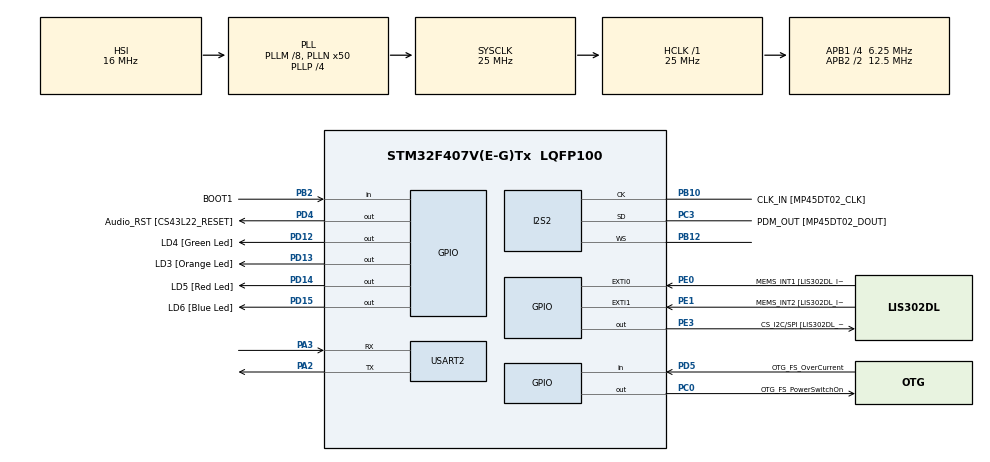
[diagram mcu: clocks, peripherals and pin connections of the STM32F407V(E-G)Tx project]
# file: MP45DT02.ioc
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I2S2.AudioFreq=I2S_AUDIOFREQ_192K
I2S2.ErrorAudioFreq=0.8 %
I2S2.Mode=I2S_MODE_MASTER_RX
I2S2.RealAudioFreq=193.548 KHz
Mcu.Family=STM32F4
Mcu.Name=STM32F407V(E-G)Tx
Mcu.Package=LQFP100
NVIC.PriorityGroup=NVIC_PRIORITYGROUP_0
NVIC.SPI2_IRQn=true\:0\:0\:false\:false\:true
PA10.GPIO_Label=OTG_FS_ID
PA10.GPIO_Mode=GPIO_MODE_AF_PP
PA10.GPIO_PuPd=GPIO_NOPULL
PA10.GPIO_Speed=GPIO_SPEED_FREQ_LOW
PA10.Signal=USB_OTG_FS_ID
PA11.GPIO_Label=OTG_FS_DM
PA11.GPIO_Mode=GPIO_MODE_AF_PP
PA11.GPIO_PuPd=GPIO_NOPULL
PA11.GPIO_Speed=GPIO_SPEED_FREQ_LOW
PA11.Signal=USB_OTG_FS_DM
PA12.GPIO_Label=OTG_FS_DP
PA12.GPIO_Mode=GPIO_MODE_AF_PP
PA12.GPIO_PuPd=GPIO_NOPULL
PA12.GPIO_Speed=GPIO_SPEED_FREQ_LOW
PA12.Signal=USB_OTG_FS_DP
PA13.GPIO_Label=SWDIO
PA13.Signal=SYS_JTMS-SWDIO
PA14.GPIO_Label=SWCLK
PA14.Signal=SYS_JTCK-SWCLK
PA2.Mode=Asynchronous
PA2.Signal=USART2_TX
PA3.Mode=Asynchronous
PA3.Signal=USART2_RX
PA4.GPIO_Label=I2S3_WS [CS43L22_LRCK]
PA4.GPIO_Mode=GPIO_MODE_AF_PP
PA4.GPIO_PuPd=GPIO_NOPULL
PA4.GPIO_Speed=GPIO_SPEED_FREQ_LOW
PA4.Signal=I2S3_WS
PA5.GPIO_Label=SPI1_SCK [LIS302DL_SCL/SPC]
PA5.GPIO_Mode=GPIO_MODE_AF_PP
PA5.GPIO_PuPd=GPIO_NOPULL
PA5.GPIO_Speed=GPIO_SPEED_FREQ_LOW
PA5.Signal=SPI1_SCK
PA6.GPIO_Label=SPI1_MISO [LIS302DL_SDO]
PA6.GPIO_Mode=GPIO_MODE_AF_PP
PA6.GPIO_PuPd=GPIO_NOPULL
PA6.GPIO_Speed=GPIO_SPEED_FREQ_LOW
PA6.Signal=SPI1_MISO
PA7.GPIO_Label=SPI1_MOSI [LIS302DL_SDA/SDI/SDO]
PA7.GPIO_Mode=GPIO_MODE_AF_PP
PA7.GPIO_PuPd=GPIO_NOPULL
PA7.GPIO_Speed=GPIO_SPEED_FREQ_LOW
PA7.Signal=SPI1_MOSI
PA9.GPIO_Label=VBUS_FS
PA9.GPIO_Mode=GPIO_MODE_INPUT
PA9.GPIO_PuPd=GPIO_NOPULL
PA9.Signal=USB_OTG_FS_VBUS
PB10.GPIO_Label=CLK_IN [MP45DT02_CLK]
PB10.GPIO_Mode=GPIO_MODE_AF_PP
PB10.GPIO_PuPd=GPIO_NOPULL
PB10.GPIO_Speed=GPIO_SPEED_FREQ_LOW
PB10.Mode=Half_Duplex_Master
PB10.Signal=I2S2_CK
PB12.Mode=Half_Duplex_Master
PB12.Signal=I2S2_WS
PB2.GPIO_Label=BOOT1
PB2.GPIO_Mode=GPIO_MODE_INPUT
PB2.GPIO_PuPd=GPIO_NOPULL
PB2.Signal=GPIO_Input
PB3.GPIO_Label=SWO
PB3.Signal=SYS_JTDO-SWO
PB6.GPIO_Label=Audio_SCL [CS43L22_SCL]
PB6.GPIO_Mode=GPIO_MODE_AF_OD
PB6.GPIO_PuPd=GPIO_NOPULL
PB6.GPIO_Speed=GPIO_SPEED_FREQ_LOW
PB6.Signal=I2C1_SCL
PB9.GPIO_Label=Audio_SDA [CS43L22_SDA]
PB9.GPIO_Mode=GPIO_MODE_AF_OD
PB9.GPIO_PuPd=GPIO_NOPULL
PB9.GPIO_Speed=GPIO_SPEED_FREQ_LOW
PB9.Signal=I2C1_SDA
PC0.GPIO_Label=OTG_FS_PowerSwitchOn
PC0.GPIO_PuPd=GPIO_NOPULL
PC0.GPIO_Speed=GPIO_SPEED_FREQ_LOW
PC0.PinState=GPIO_PIN_SET
PC0.Signal=GPIO_Output
PC10.GPIO_Label=I2S3_SCK [CS43L22_SCLK]
PC10.GPIO_Mode=GPIO_MODE_AF_PP
PC10.GPIO_PuPd=GPIO_NOPULL
PC10.GPIO_Speed=GPIO_SPEED_FREQ_LOW
PC10.Signal=I2S3_CK
PC12.GPIO_Label=I2S3_SD [CS43L22_SDIN]
PC12.GPIO_Mode=GPIO_MODE_AF_PP
PC12.GPIO_PuPd=GPIO_NOPULL
PC12.GPIO_Speed=GPIO_SPEED_FREQ_LOW
PC12.Signal=I2S3_SD
PC14-OSC32_IN.GPIO_Label=PC14-OSC32_IN
PC14-OSC32_IN.Signal=RCC_OSC32_IN
PC15-OSC32_OUT.GPIO_Label=PC15-OSC32_OUT
PC15-OSC32_OUT.Signal=RCC_OSC32_OUT
PC3.GPIO_Label=PDM_OUT [MP45DT02_DOUT]
PC3.GPIO_Mode=GPIO_MODE_AF_PP
PC3.GPIO_PuPd=GPIO_NOPULL
PC3.GPIO_Speed=GPIO_SPEED_FREQ_LOW
PC3.Mode=Half_Duplex_Master
PC3.Signal=I2S2_SD
PC7.GPIO_Label=I2S3_MCK [CS43L22_MCLK]
PC7.GPIO_Mode=GPIO_MODE_AF_PP
PC7.GPIO_PuPd=GPIO_NOPULL
PC7.GPIO_Speed=GPIO_SPEED_FREQ_LOW
PC7.Signal=I2S3_MCK
PD12.GPIO_Label=LD4 [Green Led]
PD12.GPIO_PuPd=GPIO_NOPULL
PD12.GPIO_Speed=GPIO_SPEED_FREQ_LOW
PD12.Signal=GPIO_Output
PD13.GPIO_Label=LD3 [Orange Led]
PD13.GPIO_PuPd=GPIO_NOPULL
PD13.GPIO_Speed=GPIO_SPEED_FREQ_LOW
PD13.Signal=GPIO_Output
PD14.GPIO_Label=LD5 [Red Led]
PD14.GPIO_PuPd=GPIO_NOPULL
PD14.GPIO_Speed=GPIO_SPEED_FREQ_LOW
PD14.Signal=GPIO_Output
PD15.GPIO_Label=LD6 [Blue Led]
PD15.GPIO_PuPd=GPIO_NOPULL
PD15.GPIO_Speed=GPIO_SPEED_FREQ_LOW
PD15.Signal=GPIO_Output
PD4.GPIO_Label=Audio_RST [CS43L22_RESET]
PD4.GPIO_PuPd=GPIO_NOPULL
PD4.GPIO_Speed=GPIO_SPEED_FREQ_LOW
PD4.Signal=GPIO_Output
PD5.GPIO_Label=OTG_FS_OverCurrent
PD5.GPIO_Mode=GPIO_MODE_INPUT
PD5.GPIO_PuPd=GPIO_NOPULL
PD5.Signal=GPIO_Input
PE0.GPIO_Label=MEMS_INT1 [LIS302DL_INT1]
PE0.Signal=GPXTI0
PE1.GPIO_Label=MEMS_INT2 [LIS302DL_INT2]
PE1.GPIO_ModeDefaultEXTI=GPIO_MODE_EVT_RISING
PE1.GPIO_PuPd=GPIO_NOPULL
PE1.Signal=GPXTI1
PE3.GPIO_Label=CS_I2C/SPI [LIS302DL_CS_I2C/SPI]
PE3.GPIO_PuPd=GPIO_NOPULL
PE3.GPIO_Speed=GPIO_SPEED_FREQ_LOW
PE3.Signal=GPIO_Output
PH0-OSC_IN.GPIO_Label=PH0-OSC_IN
PH0-OSC_IN.Signal=RCC_OSC_IN
PH1-OSC_OUT.GPIO_Label=PH1-OSC_OUT
PH1-OSC_OUT.Signal=RCC_OSC_OUT
ProjectManager.HeapSize=0x200
ProjectManager.StackSize=0x400
ProjectManager.TargetToolchain=SW4STM32
RCC.48MHZClocksFreq_Value=14285714.285714285
RCC.AHBFreq_Value=25000000
RCC.APB1CLKDivider=RCC_HCLK_DIV4
RCC.APB1Freq_Value=6250000
RCC.APB1TimFreq_Value=12500000
RCC.APB2CLKDivider=RCC_HCLK_DIV2
RCC.APB2Freq_Value=12500000
RCC.APB2TimFreq_Value=25000000
RCC.CortexFreq_Value=25000000
RCC.HCLKFreq_Value=25000000
RCC.HSE_VALUE=8000000
RCC.HSI_VALUE=16000000
RCC.LSE_VALUE=32768
RCC.PLLM=8
RCC.PLLN=50
RCC.PLLP=RCC_PLLP_DIV4
RCC.PLLQ=7
RCC.SYSCLKFreq_VALUE=25000000
RCC.SYSCLKSource=RCC_SYSCLKSOURCE_PLLCLK
RCC.VCOOutputFreq_Value=100000000
board=STM32F407G-DISC1

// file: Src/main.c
/**
 ******************************************************************************
 * File Name          : main.c
 * Description        : Main program body
 ******************************************************************************
 *
 * COPYRIGHT(c) 2016 STMicroelectronics
 *
 * Redistribution and use in source and binary forms, with or without modification,
 * are permitted provided that the following conditions are met:
 *   1. Redistributions of source code must retain the above copyright notice,
 *      this list of conditions and the following disclaimer.
 *   2. Redistributions in binary form must reproduce the above copyright notice,
 *      this list of conditions and the following disclaimer in the documentation
 *      and/or other materials provided with the distribution.
 *   3. Neither the name of STMicroelectronics nor the names of its contributors
 *      may be used to endorse or promote products derived from this software
 *      without specific prior written permission.
 *
 * THIS SOFTWARE IS PROVIDED BY THE COPYRIGHT HOLDERS AND CONTRIBUTORS "AS IS"
 * AND ANY EXPRESS OR IMPLIED WARRANTIES, INCLUDING, BUT NOT LIMITED TO, THE
 * IMPLIED WARRANTIES OF MERCHANTABILITY AND FITNESS FOR A PARTICULAR PURPOSE ARE
 * DISCLAIMED. IN NO EVENT SHALL THE COPYRIGHT HOLDER OR CONTRIBUTORS BE LIABLE
 * FOR ANY DIRECT, INDIRECT, INCIDENTAL, SPECIAL, EXEMPLARY, OR CONSEQUENTIAL
 * DAMAGES (INCLUDING, BUT NOT LIMITED TO, PROCUREMENT OF SUBSTITUTE GOODS OR
 * SERVICES; LOSS OF USE, DATA, OR PROFITS; OR BUSINESS INTERRUPTION) HOWEVER
 * CAUSED AND ON ANY THEORY OF LIABILITY, WHETHER IN CONTRACT, STRICT LIABILITY,
 * OR TORT (INCLUDING NEGLIGENCE OR OTHERWISE) ARISING IN ANY WAY OUT OF THE USE
 * OF THIS SOFTWARE, EVEN IF ADVISED OF THE POSSIBILITY OF SUCH DAMAGE.
 *
 ******************************************************************************
 */
#include "main.h"
#include "stm32f4xx_hal.h"

/* USER CODE BEGIN Includes */
#include <string.h>
#include <math.h>
#define UART_TIMEOUT 20
#define I2S_TIMEOUT 1000
#define PDM_BUFFER_SIZE 20
#define PCM_BUFFER_SIZE 2500
#define LEAKY_KEEP_RATE 0.95
#define PDM_STREAM_BLOCK_SIZE_BIT 8
/* USER CODE END Includes */

I2S_HandleTypeDef hi2s2;

UART_HandleTypeDef huart2;

/* USER CODE BEGIN PV */
/* Private variables ---------------------------------------------------------*/

/* USER CODE END PV */

void SystemClock_Config(void);
void Error_Handler(void);
static void MX_GPIO_Init(void);
static void MX_I2S2_Init(void);
static void MX_USART2_UART_Init(void);

/* USER CODE BEGIN PFP */

/* Private function prototypes -----------------------------------------------*/
uint16_t read_pdm();
void send_data_via_uart(char *data, uint16_t size);
int calculate_volume(uint16_t data);
float abs_float(float in);

/* USER CODE END PFP */

/* USER CODE BEGIN 0 */

char uart_buffer[100];

/* USER CODE END 0 */

int main(void) {

	/* USER CODE BEGIN 1 */
	uint16_t pdm_buffer[PDM_BUFFER_SIZE];
	uint16_t pdm_value = 0;
	int8_t pcm_value = 0;
	uint16_t pcm_count = 0;

	float leaky_pcm_buffer = 0.0; // For PDM moving average
	float leaky_amp_buffer = 0.0; // For |PCM| moving average

	double pcm_square = 0;
	float max_amp = 0;

	uint8_t i;
	/* USER CODE END 1 */

	/* MCU Configuration----------------------------------------------------------*/

	/* Reset of all peripherals, Initializes the Flash interface and the Systick. */
	HAL_Init();

	/* Configure the system clock */
	SystemClock_Config();

	/* Initialize all configured peripherals */
	MX_GPIO_Init();
	MX_I2S2_Init();
	MX_USART2_UART_Init();

	/* Infinite loop */
	while (1) {

		/* USER CODE BEGIN 3 */
//		uint16_t pdm_stream = read_pdm();
//		sprintf(uart_buffer, "PDM: %d\n", pdm_stream);
//		send_data_via_uart(uart_buffer);
//		int volume = calculate_volume(pdm_stream);
//		sprintf(uart_buffer, "Volume: %d\n\r", volume);
//		send_data_via_uart(uart_buffer);
		HAL_I2S_Receive(&hi2s2, pdm_buffer, PDM_BUFFER_SIZE, I2S_TIMEOUT);
		for (i = 0; i < PDM_BUFFER_SIZE; i++) {
			pcm_value = -PDM_STREAM_BLOCK_SIZE_BIT / 2;
			pdm_value = pdm_buffer[i];
			// calculate PCM value
			while (pdm_value != 0) {
				pcm_value++;
				pdm_value ^= pdm_value & -pdm_value;
			}
			leaky_pcm_buffer += pcm_value;
			leaky_pcm_buffer *= LEAKY_KEEP_RATE;
			leaky_amp_buffer += abs_float(leaky_pcm_buffer);
			leaky_amp_buffer *= LEAKY_KEEP_RATE;
		}
		pcm_count++;
		if (max_amp < leaky_amp_buffer)
			max_amp = leaky_amp_buffer;
		pcm_square += (leaky_amp_buffer / 2500) * leaky_amp_buffer;
		if (pcm_count == 2500) {
			sprintf(uart_buffer, "Loudness: %d\n\r", (int) max_amp);
			send_data_via_uart(uart_buffer, strlen(uart_buffer));
			pcm_count = 0;
			pcm_square = 0;
			max_amp = 0;
		}
	}
	/* USER CODE END 3 */

}

/** System Clock Configuration
 */
void SystemClock_Config(void) {

	RCC_OscInitTypeDef RCC_OscInitStruct;
	RCC_ClkInitTypeDef RCC_ClkInitStruct;
	RCC_PeriphCLKInitTypeDef PeriphClkInitStruct;

	/**Configure the main internal regulator output voltage
	 */
	__HAL_RCC_PWR_CLK_ENABLE()
	;

	__HAL_PWR_VOLTAGESCALING_CONFIG(PWR_REGULATOR_VOLTAGE_SCALE1);

	/**Initializes the CPU, AHB and APB busses clocks
	 */
	RCC_OscInitStruct.OscillatorType = RCC_OSCILLATORTYPE_HSI;
	RCC_OscInitStruct.HSIState = RCC_HSI_ON;
	RCC_OscInitStruct.HSICalibrationValue = 16;
	RCC_OscInitStruct.PLL.PLLState = RCC_PLL_ON;
	RCC_OscInitStruct.PLL.PLLSource = RCC_PLLSOURCE_HSI;
	RCC_OscInitStruct.PLL.PLLM = 8;
	RCC_OscInitStruct.PLL.PLLN = 50;
	RCC_OscInitStruct.PLL.PLLP = RCC_PLLP_DIV4;
	RCC_OscInitStruct.PLL.PLLQ = 7;
	if (HAL_RCC_OscConfig(&RCC_OscInitStruct) != HAL_OK) {
		Error_Handler();
	}

	/**Initializes the CPU, AHB and APB busses clocks
	 */
	RCC_ClkInitStruct.ClockType = RCC_CLOCKTYPE_HCLK | RCC_CLOCKTYPE_SYSCLK
			| RCC_CLOCKTYPE_PCLK1 | RCC_CLOCKTYPE_PCLK2;
	RCC_ClkInitStruct.SYSCLKSource = RCC_SYSCLKSOURCE_PLLCLK;
	RCC_ClkInitStruct.AHBCLKDivider = RCC_SYSCLK_DIV1;
	RCC_ClkInitStruct.APB1CLKDivider = RCC_HCLK_DIV4;
	RCC_ClkInitStruct.APB2CLKDivider = RCC_HCLK_DIV2;

	if (HAL_RCC_ClockConfig(&RCC_ClkInitStruct, FLASH_LATENCY_0) != HAL_OK) {
		Error_Handler();
	}

	PeriphClkInitStruct.PeriphClockSelection = RCC_PERIPHCLK_I2S;
	PeriphClkInitStruct.PLLI2S.PLLI2SN = 192;
	PeriphClkInitStruct.PLLI2S.PLLI2SR = 2;
	if (HAL_RCCEx_PeriphCLKConfig(&PeriphClkInitStruct) != HAL_OK) {
		Error_Handler();
	}

	/**Configure the Systick interrupt time
	 */
	HAL_SYSTICK_Config(HAL_RCC_GetHCLKFreq() / 1000);

	/**Configure the Systick
	 */
	HAL_SYSTICK_CLKSourceConfig(SYSTICK_CLKSOURCE_HCLK);

	/* SysTick_IRQn interrupt configuration */
	HAL_NVIC_SetPriority(SysTick_IRQn, 0, 0);
}

/* I2S2 init function */
static void MX_I2S2_Init(void) {

	hi2s2.Instance = SPI2;
	hi2s2.Init.Mode = I2S_MODE_MASTER_RX;
	hi2s2.Init.Standard = I2S_STANDARD_PHILIPS;
	hi2s2.Init.DataFormat = I2S_DATAFORMAT_16B;
	hi2s2.Init.MCLKOutput = I2S_MCLKOUTPUT_DISABLE;
	hi2s2.Init.AudioFreq = I2S_AUDIOFREQ_192K;
	hi2s2.Init.CPOL = I2S_CPOL_LOW;
	hi2s2.Init.ClockSource = I2S_CLOCK_PLL;
	hi2s2.Init.FullDuplexMode = I2S_FULLDUPLEXMODE_DISABLE;
	if (HAL_I2S_Init(&hi2s2) != HAL_OK) {
		Error_Handler();
	}

}

/* USART2 init function */
static void MX_USART2_UART_Init(void) {

	huart2.Instance = USART2;
	huart2.Init.BaudRate = 115200;
	huart2.Init.WordLength = UART_WORDLENGTH_8B;
	huart2.Init.StopBits = UART_STOPBITS_1;
	huart2.Init.Parity = UART_PARITY_NONE;
	huart2.Init.Mode = UART_MODE_TX_RX;
	huart2.Init.HwFlowCtl = UART_HWCONTROL_NONE;
	huart2.Init.OverSampling = UART_OVERSAMPLING_16;
	if (HAL_UART_Init(&huart2) != HAL_OK) {
		Error_Handler();
	}

}

/** Configure pins as
 * Analog
 * Input
 * Output
 * EVENT_OUT
 * EXTI
 PA4   ------> I2S3_WS
 PA5   ------> SPI1_SCK
 PA6   ------> SPI1_MISO
 PA7   ------> SPI1_MOSI
 PC7   ------> I2S3_MCK
 PA9   ------> USB_OTG_FS_VBUS
 PA10   ------> USB_OTG_FS_ID
 PA11   ------> USB_OTG_FS_DM
 PA12   ------> USB_OTG_FS_DP
 PC10   ------> I2S3_CK
 PC12   ------> I2S3_SD
 PB6   ------> I2C1_SCL
 PB9   ------> I2C1_SDA
 */
static void MX_GPIO_Init(void) {

	GPIO_InitTypeDef GPIO_InitStruct;

	/* GPIO Ports Clock Enable */
	__HAL_RCC_GPIOE_CLK_ENABLE()
	;
	__HAL_RCC_GPIOC_CLK_ENABLE()
	;
	__HAL_RCC_GPIOH_CLK_ENABLE()
	;
	__HAL_RCC_GPIOA_CLK_ENABLE()
	;
	__HAL_RCC_GPIOB_CLK_ENABLE()
	;
	__HAL_RCC_GPIOD_CLK_ENABLE()
	;

	/*Configure GPIO pin Output Level */
	HAL_GPIO_WritePin(CS_I2C_SPI_GPIO_Port, CS_I2C_SPI_Pin, GPIO_PIN_RESET);

	/*Configure GPIO pin Output Level */
	HAL_GPIO_WritePin(OTG_FS_PowerSwitchOn_GPIO_Port, OTG_FS_PowerSwitchOn_Pin,
			GPIO_PIN_SET);

	/*Configure GPIO pin Output Level */
	HAL_GPIO_WritePin(GPIOD,
	LD4_Pin | LD3_Pin | LD5_Pin | LD6_Pin | Audio_RST_Pin, GPIO_PIN_RESET);

	/*Configure GPIO pin : CS_I2C_SPI_Pin */
	GPIO_InitStruct.Pin = CS_I2C_SPI_Pin;
	GPIO_InitStruct.Mode = GPIO_MODE_OUTPUT_PP;
	GPIO_InitStruct.Pull = GPIO_NOPULL;
	GPIO_InitStruct.Speed = GPIO_SPEED_FREQ_LOW;
	HAL_GPIO_Init(CS_I2C_SPI_GPIO_Port, &GPIO_InitStruct);

	/*Configure GPIO pin : OTG_FS_PowerSwitchOn_Pin */
	GPIO_InitStruct.Pin = OTG_FS_PowerSwitchOn_Pin;
	GPIO_InitStruct.Mode = GPIO_MODE_OUTPUT_PP;
	GPIO_InitStruct.Pull = GPIO_NOPULL;
	GPIO_InitStruct.Speed = GPIO_SPEED_FREQ_LOW;
	HAL_GPIO_Init(OTG_FS_PowerSwitchOn_GPIO_Port, &GPIO_InitStruct);

	/*Configure GPIO pin : PA4 */
	GPIO_InitStruct.Pin = GPIO_PIN_4;
	GPIO_InitStruct.Mode = GPIO_MODE_AF_PP;
	GPIO_InitStruct.Pull = GPIO_NOPULL;
	GPIO_InitStruct.Speed = GPIO_SPEED_FREQ_LOW;
	GPIO_InitStruct.Alternate = GPIO_AF6_SPI3;
	HAL_GPIO_Init(GPIOA, &GPIO_InitStruct);

	/*Configure GPIO pins : PA5 PA6 PA7 */
	GPIO_InitStruct.Pin = GPIO_PIN_5 | GPIO_PIN_6 | GPIO_PIN_7;
	GPIO_InitStruct.Mode = GPIO_MODE_AF_PP;
	GPIO_InitStruct.Pull = GPIO_NOPULL;
	GPIO_InitStruct.Speed = GPIO_SPEED_FREQ_LOW;
	GPIO_InitStruct.Alternate = GPIO_AF5_SPI1;
	HAL_GPIO_Init(GPIOA, &GPIO_InitStruct);

	/*Configure GPIO pin : BOOT1_Pin */
	GPIO_InitStruct.Pin = BOOT1_Pin;
	GPIO_InitStruct.Mode = GPIO_MODE_INPUT;
	GPIO_InitStruct.Pull = GPIO_NOPULL;
	HAL_GPIO_Init(BOOT1_GPIO_Port, &GPIO_InitStruct);

	/*Configure GPIO pins : LD4_Pin LD3_Pin LD5_Pin LD6_Pin
	 Audio_RST_Pin */
	GPIO_InitStruct.Pin = LD4_Pin | LD3_Pin | LD5_Pin | LD6_Pin | Audio_RST_Pin;
	GPIO_InitStruct.Mode = GPIO_MODE_OUTPUT_PP;
	GPIO_InitStruct.Pull = GPIO_NOPULL;
	GPIO_InitStruct.Speed = GPIO_SPEED_FREQ_LOW;
	HAL_GPIO_Init(GPIOD, &GPIO_InitStruct);

	/*Configure GPIO pins : PC7 I2S3_SCK_Pin PC12 */
	GPIO_InitStruct.Pin = GPIO_PIN_7 | I2S3_SCK_Pin | GPIO_PIN_12;
	GPIO_InitStruct.Mode = GPIO_MODE_AF_PP;
	GPIO_InitStruct.Pull = GPIO_NOPULL;
	GPIO_InitStruct.Speed = GPIO_SPEED_FREQ_LOW;
	GPIO_InitStruct.Alternate = GPIO_AF6_SPI3;
	HAL_GPIO_Init(GPIOC, &GPIO_InitStruct);

	/*Configure GPIO pin : VBUS_FS_Pin */
	GPIO_InitStruct.Pin = VBUS_FS_Pin;
	GPIO_InitStruct.Mode = GPIO_MODE_INPUT;
	GPIO_InitStruct.Pull = GPIO_NOPULL;
	HAL_GPIO_Init(VBUS_FS_GPIO_Port, &GPIO_InitStruct);

	/*Configure GPIO pins : OTG_FS_ID_Pin OTG_FS_DM_Pin OTG_FS_DP_Pin */
	GPIO_InitStruct.Pin = OTG_FS_ID_Pin | OTG_FS_DM_Pin | OTG_FS_DP_Pin;
	GPIO_InitStruct.Mode = GPIO_MODE_AF_PP;
	GPIO_InitStruct.Pull = GPIO_NOPULL;
	GPIO_InitStruct.Speed = GPIO_SPEED_FREQ_LOW;
	GPIO_InitStruct.Alternate = GPIO_AF10_OTG_FS;
	HAL_GPIO_Init(GPIOA, &GPIO_InitStruct);

	/*Configure GPIO pin : OTG_FS_OverCurrent_Pin */
	GPIO_InitStruct.Pin = OTG_FS_OverCurrent_Pin;
	GPIO_InitStruct.Mode = GPIO_MODE_INPUT;
	GPIO_InitStruct.Pull = GPIO_NOPULL;
	HAL_GPIO_Init(OTG_FS_OverCurrent_GPIO_Port, &GPIO_InitStruct);

	/*Configure GPIO pins : Audio_SCL_Pin Audio_SDA_Pin */
	GPIO_InitStruct.Pin = Audio_SCL_Pin | Audio_SDA_Pin;
	GPIO_InitStruct.Mode = GPIO_MODE_AF_OD;
	GPIO_InitStruct.Pull = GPIO_PULLUP;
	GPIO_InitStruct.Speed = GPIO_SPEED_FREQ_LOW;
	GPIO_InitStruct.Alternate = GPIO_AF4_I2C1;
	HAL_GPIO_Init(GPIOB, &GPIO_InitStruct);

	/*Configure GPIO pin : MEMS_INT1_Pin */
	GPIO_InitStruct.Pin = MEMS_INT1_Pin;
	GPIO_InitStruct.Mode = GPIO_MODE_IT_RISING;
	GPIO_InitStruct.Pull = GPIO_NOPULL;
	HAL_GPIO_Init(MEMS_INT1_GPIO_Port, &GPIO_InitStruct);

	/*Configure GPIO pin : MEMS_INT2_Pin */
	GPIO_InitStruct.Pin = MEMS_INT2_Pin;
	GPIO_InitStruct.Mode = GPIO_MODE_EVT_RISING;
	GPIO_InitStruct.Pull = GPIO_NOPULL;
	HAL_GPIO_Init(MEMS_INT2_GPIO_Port, &GPIO_InitStruct);

}

/* USER CODE BEGIN 4 */

float abs_float(float in) {
	return in < 0 ? -in : in;
}

/**
 * @brief  Calculate volume from PDM stream.
 * @param  data: PDM stream
 * @retval Volume (no unit)
 */
int calculate_volume(uint16_t data) {
	int i, volume = 0;
	for (i = 0; i < 16; i++) {
		volume += data % 2;
		data /= 2;
	}
	return volume;
}

/**
 * @brief  Read PDM stream from microphone module.
 * @param  None
 * @retval 16-bit PDM
 */
uint16_t read_pdm() {
	uint16_t pdm_stream;
	HAL_I2S_Receive(&hi2s2, &pdm_stream, 1, I2S_TIMEOUT);
	return pdm_stream;
}

/**
 * @brief  Send data via UART.
 * @param  data: data to be sent
 * @retval None
 */
void send_data_via_uart(char *data, uint16_t size) {
	HAL_UART_Transmit(&huart2, (uint8_t *) data, size, UART_TIMEOUT);
}

/* USER CODE END 4 */

void Error_Handler(void) {
	while (1) {
	}
}

/************************ (C) COPYRIGHT STMicroelectronics *****END OF FILE****/
